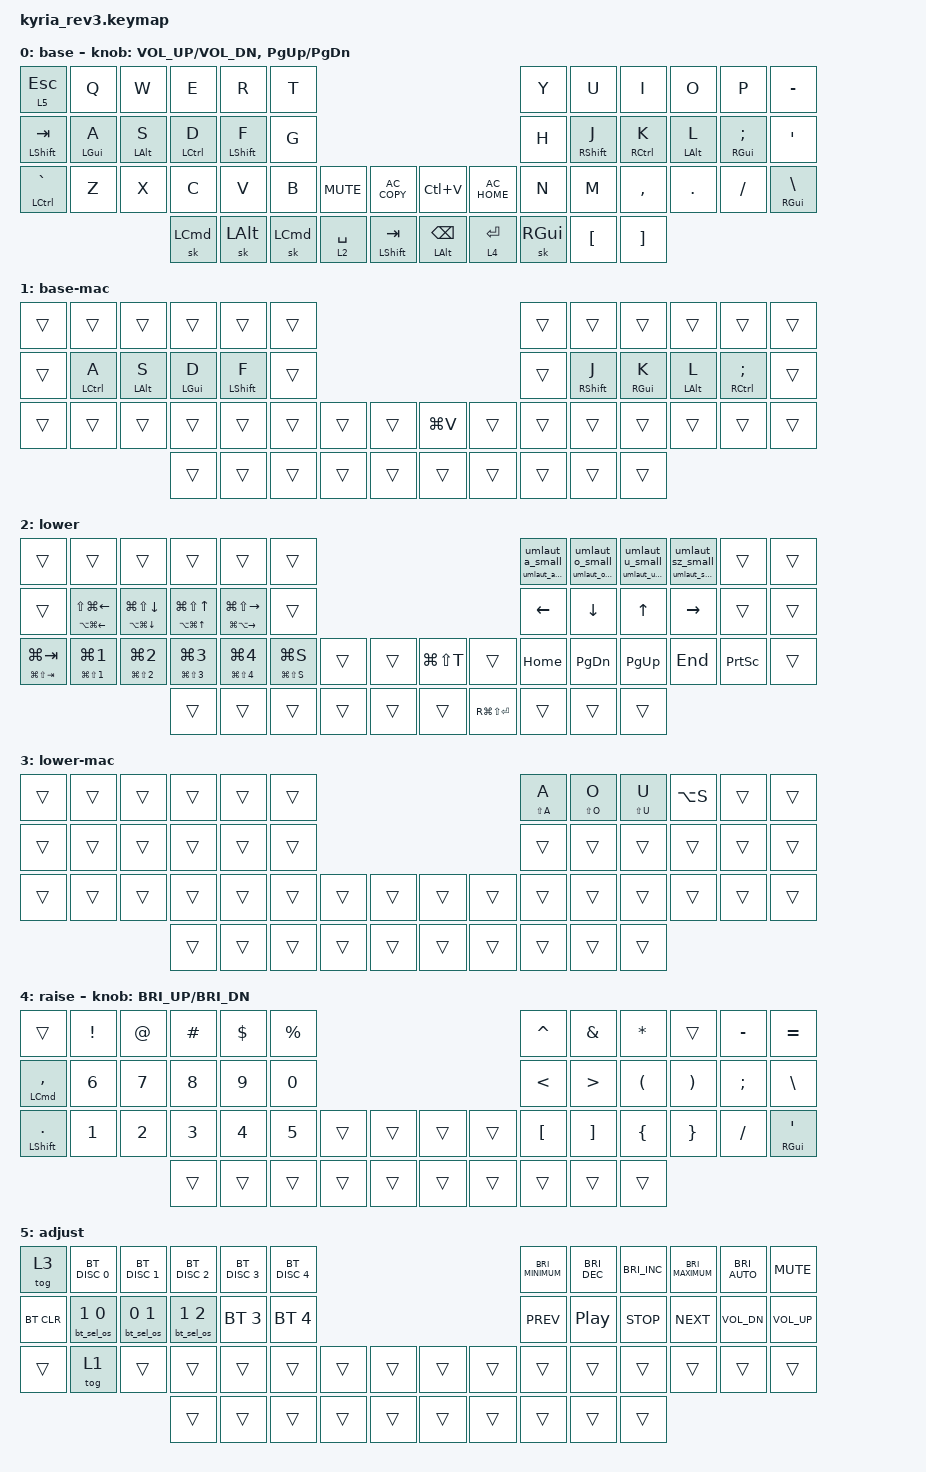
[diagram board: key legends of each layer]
/*
 * Copyright (c) 2023 The ZMK Contributors
 *
 * SPDX-License-Identifier: MIT
 */

#include <behaviors.dtsi>
#include <dt-bindings/zmk/bt.h>
#include <dt-bindings/zmk/keys.h>

/* Uncomment this block if using RGB
&led_strip {
    chain-length = <6>;
    // chain-length = <31>; // Uncomment if using both per-key and underglow LEDs
    // chain-length = <25>; // Uncomment if using only per-key LEDs.
};
 */

/ {
    macros {
        umlaut_a_up: umlaut_a_up {
            compatible = "zmk,behavior-macro";
            #binding-cells = <0>;
            bindings = <&kp LC(LS(U)) &kp C &kp KP_NUMBER_4 &kp SPACE>;
            label = "UMLAUT_A_UP";
        };

        umlaut_a_small: umlaut_a_small {
            compatible = "zmk,behavior-macro";
            #binding-cells = <0>;
            bindings = <&kp LC(LS(U)) &kp E &kp KP_NUMBER_4 &kp SPACE>;
            label = "UMLAUT_A_small";
        };

        umlaut_o_up: umlaut_o_up {
            compatible = "zmk,behavior-macro";
            #binding-cells = <0>;
            bindings = <&kp LC(LS(U)) &kp D &kp KP_NUMBER_6 &kp SPACE>;
            label = "UMLAUT_O_UP";
        };

        umlaut_o_small: umlaut_o_small {
            compatible = "zmk,behavior-macro";
            #binding-cells = <0>;
            bindings = <&kp LC(LS(U)) &kp F &kp KP_NUMBER_6 &kp SPACE>;
            label = "UMLAUT_O_SMALL";
        };

        umlaut_u_small: umlaut_u_small {
            compatible = "zmk,behavior-macro";
            #binding-cells = <0>;
            bindings = <&kp LC(LS(U)) &kp F &kp C &kp SPACE>;
            label = "UMLAUT_U_SMALL";
        };

        umlaut_u_up: umlaut_u_up {
            compatible = "zmk,behavior-macro";
            #binding-cells = <0>;
            bindings = <&kp LC(LS(U)) &kp D &kp C &kp SPACE>;
            label = "UMLAUT_U_UP";
        };

        umlaut_sz_small: umlaut_sz_small {
            compatible = "zmk,behavior-macro";
            #binding-cells = <0>;
            bindings = <&kp LC(LS(U)) &kp U &kp D &kp F &kp SPACE>;
            label = "UMLAUT_SZ_SMALL";
        };

        umlaut_sz_up: umlaut_sz_up {
            compatible = "zmk,behavior-macro";
            #binding-cells = <0>;
            bindings = <&kp LC(LS(U)) &kp KP_NUMBER_1 &kp E &kp KP_NUMBER_9 &kp E &kp SPACE>;
            label = "UMLAUT_SZ_UP";
        };

        bt_sel_os: bt_os {
            compatible = "zmk,behavior-macro-two-param";
            #binding-cells = <2>;
            bindings = <&macro_param_1to1 &to MACRO_PLACEHOLDER &macro_param_2to2 &bt BT_SEL MACRO_PLACEHOLDER>;
            label = "BT_OS";
        };

        umlaut_mac_all: umlaut_mac {
            compatible = "zmk,behavior-macro-one-param";
            #binding-cells = <1>;
            bindings = <&kp LA(U) &macro_param_1to1 &kp MACRO_PLACEHOLDER>;
            label = "UMLAUT_MAC";
        };
    };

    behaviors {
        umlaut_a: umlaut_a {
            compatible = "zmk,behavior-hold-tap";
            label = "UMLAUT_A";
            bindings = <&umlaut_a_up>, <&umlaut_a_small>;

            #binding-cells = <2>;
            tapping-term-ms = <200>;
            flavor = "balanced";
        };

        umlaut_o: umlaut_o {
            compatible = "zmk,behavior-hold-tap";
            label = "UMLAUT_O";
            bindings = <&umlaut_o_up>, <&umlaut_o_small>;

            #binding-cells = <2>;
            tapping-term-ms = <200>;
            flavor = "balanced";
        };

        umlaut_u: umlaut_u {
            compatible = "zmk,behavior-hold-tap";
            label = "UMLAUT_U";
            bindings = <&umlaut_u_up>, <&umlaut_u_small>;

            #binding-cells = <2>;
            tapping-term-ms = <200>;
            flavor = "balanced";
        };

        umlaut_sz: umlaut_sz {
            compatible = "zmk,behavior-hold-tap";
            label = "UMLAUT_SZ";
            bindings = <&umlaut_sz_up>, <&umlaut_sz_small>;

            #binding-cells = <2>;
            tapping-term-ms = <200>;
            flavor = "balanced";
        };

        esc_adjust: esc_adjust {
            compatible = "zmk,behavior-tap-dance";
            label = "ESC_ADJUST";
            #binding-cells = <0>;
            bindings = <&kp ESCAPE>, <&none>, <&sl 5>;
        };

        hml: homerow_mods_left {
            compatible = "zmk,behavior-hold-tap";
            label = "HOMEROW_MODS_LEFT_HAND";
            bindings = <&kp>, <&kp>;

            #binding-cells = <2>;
            tapping-term-ms = <400>;
            flavor = "tap-preferred";
            quick-tap-ms = <200>;
            hold-trigger-key-positions = <6 7 8 9 10 11 18 19 20 21 22 23 34 35 36 37 38 39 49 47 45 46 47 48 49>;
        };

        hmr: homerow_mods_right {
            compatible = "zmk,behavior-hold-tap";
            label = "HOMEROW_MODS_RIGHT_HAND";
            bindings = <&kp>, <&kp>;

            #binding-cells = <2>;
            tapping-term-ms = <400>;
            flavor = "tap-preferred";
            quick-tap-ms = <200>;
            hold-trigger-key-positions = <0 1 2 3 4 5 12 13 14 15 16 17 24 25 26 27 28 29 40 41 42 43 44>;
        };

        mt_repeat: mt_repeat {
            compatible = "zmk,behavior-hold-tap";
            label = "Mod/tap repeat";
            bindings = <&kp>, <&kp>;

            #binding-cells = <2>;
            tapping-term-ms = <200>;
            quick-tap-ms = <200>;
        };

        umlaut_mac: umlaut_mac {
            compatible = "zmk,behavior-hold-tap";
            label = "UMLAUT_MAC";
            bindings = <&umlaut_mac_all>, <&umlaut_mac_all>;

            #binding-cells = <2>;
            tapping-term-ms = <200>;
        };
    };

    keymap {
        compatible = "zmk,keymap";

        base {
            // ---------------------------------------------------------------------------------------------------------------------------------
            // |  ESC  |  Q  |  W  |  E   |  R   |  T   |                                          |  Y   |  U    |  I    |  O   |   P   |   \  |
            // |  TAB  |  A  |  S  |  D   |  F   |  G   |                                          |  H   |  J    |  K    |  L   |   ;   |   '  |
            // | SHIFT |  Z  |  X  |  C   |  V   |  B   | L SHIFT | L SHIFT |  | LAYER 1 | L SHIFT |  N   |  M    |  ,    |  .   |   /   | CTRL |
            //                     | GUI  | DEL  | RET  |  SPACE  |   ESC   |  |   RET   |  SPACE  | TAB  | BSPC  | R-ALT |

            bindings = <
&lt 5 ESCAPE            &kp Q            &kp W            &kp E                &kp R              &kp T                                                                                    &kp Y     &kp U               &kp I                 &kp O            &kp P                     &kp MINUS
&mt LEFT_SHIFT TAB      &hml LEFT_GUI A  &hml LEFT_ALT S  &hml LEFT_CONTROL D  &hml LEFT_SHIFT F  &kp G                                                                                    &kp H     &hmr RIGHT_SHIFT J  &hmr RIGHT_CONTROL K  &hmr LEFT_ALT L  &hmr RIGHT_GUI SEMICOLON  &kp SINGLE_QUOTE
&mt LEFT_CONTROL GRAVE  &kp Z            &kp X            &kp C                &kp V              &kp B     &kp K_MUTE   &kp C_AC_COPY       &kp LC(V)                      &kp C_AC_HOME  &kp N     &kp M               &kp COMMA             &kp DOT          &kp FSLH                  &mt RIGHT_GUI BACKSLASH
                                                          &sk LCMD             &sk LEFT_ALT       &sk LCMD  &lt 2 SPACE  &mt LEFT_SHIFT TAB  &mt_repeat LEFT_ALT BACKSPACE  &lt 4 ENTER    &sk RGUI  &kp LEFT_BRACKET    &kp RIGHT_BRACKET
            >;

            sensor-bindings =
                <&inc_dec_kp K_VOL_UP C_VOL_DN>,
                <&inc_dec_kp PAGE_UP PAGE_DOWN>;
        };

        base-mac {
            bindings = <
&trans  &trans               &trans           &trans           &trans             &trans                                     &trans  &trans              &trans            &trans           &trans                        &trans
&trans  &hml LEFT_CONTROL A  &hml LEFT_ALT S  &hml LEFT_GUI D  &hml LEFT_SHIFT F  &trans                                     &trans  &hmr RIGHT_SHIFT J  &hmr RIGHT_GUI K  &hmr LEFT_ALT L  &hmr RIGHT_CONTROL SEMICOLON  &trans
&trans  &trans               &trans           &trans           &trans             &trans  &trans  &trans  &kp LG(V)  &trans  &trans  &trans              &trans            &trans           &trans                        &trans
                                              &trans           &trans             &trans  &trans  &trans  &trans     &trans  &trans  &trans              &trans
            >;
        };

        lower {
            bindings = <
&trans                   &trans                                &trans                                &trans                                        &trans                                  &trans                                                                 &umlaut_a 0 0   &umlaut_o 0 0  &umlaut_u 0 0  &umlaut_sz 0 0  &trans           &trans
&trans                   &mt_repeat LA(LG(LEFT)) LS(LG(LEFT))  &mt_repeat LA(LG(DOWN)) LG(LS(DOWN))  &mt_repeat LA(LG(UP_ARROW)) LG(LS(UP_ARROW))  &mt_repeat LG(LA(RIGHT)) LG(LS(RIGHT))  &trans                                                                 &kp LEFT_ARROW  &kp DOWN       &kp UP_ARROW   &kp RIGHT       &trans           &trans
&mt LG(LS(TAB)) LG(TAB)  &mt LG(LS(NUMBER_1)) LG(NUMBER_1)     &mt LG(LS(NUMBER_2)) LG(NUMBER_2)     &mt LG(LS(NUMBER_3)) LG(NUMBER_3)             &mt LG(LS(NUMBER_4)) LG(NUMBER_4)       &mt LG(LS(S)) LG(S)  &trans  &trans  &kp LG(LS(T))  &trans             &kp HOME        &kp PAGE_DOWN  &kp PAGE_UP    &kp END         &kp PRINTSCREEN  &trans
                                                                                                     &trans                                        &trans                                  &trans               &trans  &trans  &trans         &kp RG(LS(ENTER))  &trans          &trans         &trans
            >;
        };

        lower-mac {
            bindings = <
&trans  &trans  &trans  &trans  &trans  &trans                                  &umlaut_mac LS(A) A  &umlaut_mac LS(O) O  &umlaut_mac LS(U) U  &kp LA(S)  &trans  &trans
&trans  &trans  &trans  &trans  &trans  &trans                                  &trans               &trans               &trans               &trans     &trans  &trans
&trans  &trans  &trans  &trans  &trans  &trans  &trans  &trans  &trans  &trans  &trans               &trans               &trans               &trans     &trans  &trans
                        &trans  &trans  &trans  &trans  &trans  &trans  &trans  &trans               &trans               &trans
            >;
        };

        raise {
            bindings = <
&trans                 &kp EXCL      &kp AT        &kp POUND     &kp DOLLAR    &kp PERCENT                                  &kp CARET         &kp AMPS           &kp ASTRK             &trans                 &kp MINUS  &kp EQUAL
&mt LCMD COMMA         &kp NUMBER_6  &kp N7        &kp N8        &kp N9        &kp N0                                       &kp LESS_THAN     &kp GREATER_THAN   &kp LEFT_PARENTHESIS  &kp RIGHT_PARENTHESIS  &kp SEMI   &kp BACKSLASH
&mt LEFT_SHIFT PERIOD  &kp NUMBER_1  &kp NUMBER_2  &kp NUMBER_3  &kp NUMBER_4  &kp N5       &trans  &trans  &trans  &trans  &kp LEFT_BRACKET  &kp RIGHT_BRACKET  &kp LEFT_BRACE        &kp RIGHT_BRACE        &kp SLASH  &mt RIGHT_GUI SINGLE_QUOTE
                                                   &trans        &trans        &trans       &trans  &trans  &trans  &trans  &trans            &trans             &trans
            >;

            sensor-bindings = <&inc_dec_kp C_BRI_UP C_BRI_DN>;
        };

        adjust {
            bindings = <
&tog 3      &bt BT_DISC 0   &bt BT_DISC 1   &bt BT_DISC 2   &bt BT_DISC 3  &bt BT_DISC 4                                  &kp C_BRIGHTNESS_MINIMUM  &kp C_BRIGHTNESS_DEC  &kp C_BRIGHTNESS_INC  &kp C_BRIGHTNESS_MAXIMUM  &kp C_BRIGHTNESS_AUTO  &kp C_MUTE
&bt BT_CLR  &bt_sel_os 1 0  &bt_sel_os 0 1  &bt_sel_os 1 2  &bt BT_SEL 3   &bt BT_SEL 4                                   &kp C_PREV                &kp C_PLAY_PAUSE      &kp C_STOP            &kp C_NEXT                &kp C_VOL_DN           &kp C_VOLUME_UP
&trans      &tog 1          &trans          &trans          &trans         &trans         &trans  &trans  &trans  &trans  &trans                    &trans                &trans                &trans                    &trans                 &trans
                                            &trans          &trans         &trans         &trans  &trans  &trans  &trans  &trans                    &trans                &trans
            >;
        };
    };

    conditional_layers {
        compatible = "zmk,conditional-layers";

        lower-mac {
            if-layers = <1 2>;
            then-layer = <3>;
        };
    };
};
